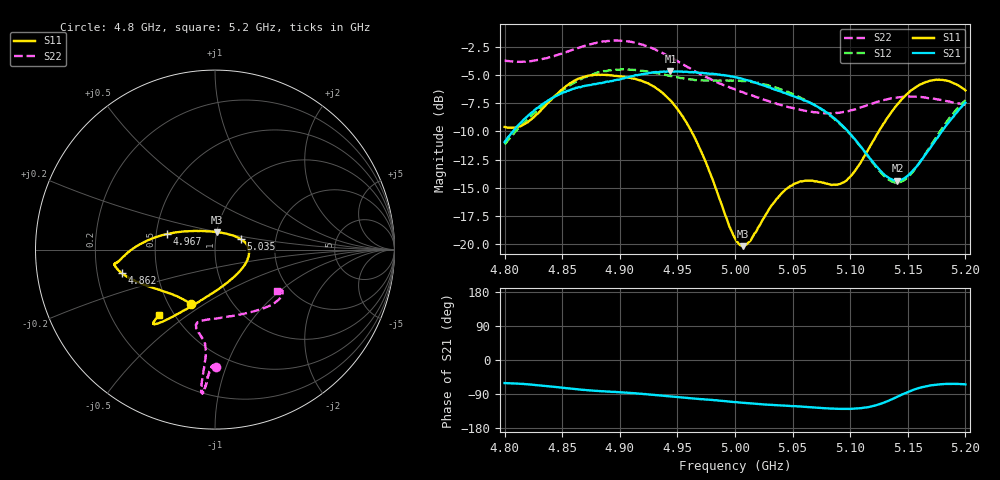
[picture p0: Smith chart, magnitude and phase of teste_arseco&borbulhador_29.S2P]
! Network Analyzer HP8722D
! Hewlett-Packard
! Data name: Linha & Wilkinson
! Saver's name: Rodrigo Anjos
! Comments: Teste da utilização de aquisição
! continua pelo VNA HP8722D
! Time and date: 15/4/2025 15:52
!  Frequency  S11  S21  S12  S22
# HZ  S  MA R 50
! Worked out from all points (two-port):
!   401 points, 4.8 GHz to 5.2 GHz, reference 50 ohm
!   highest |S21| = -4.63 dB at 4.944 GHz (marker M1); lowest = -14.4 dB at 5.141 GHz (marker M2)
!   |S21| within 3 dB of the highest: 4.832 GHz to 5.069 GHz (237.2 MHz wide, 4.79 % of centre); 5.198242 GHz to end of sweep
!   lowest |S11| = -20.2 dB at 5.007 GHz (marker M3), VSWR 1.22, Z = 50.3 + j9.82 ohm
!   |S11| at or under -10 dB: 4.962 GHz to 5.125 GHz (162.6 MHz wide, 3.22 % of centre)
!   |S22| runs from -8.4 to -1.9 dB; largest |S21 - S12| = 0.88
!   S11 on the Smith chart (normalised r, x): 4.8 GHz: 0.65, -0.44; 4.862 GHz: 0.31, -0.11; 4.967 GHz: 0.57, +0.11; 5.035 GHz: 1.32, +0.16; 5.2 GHz: 0.41, -0.39
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4.8e9  0.3312 -114.0  0.2838 -60.9  0.277 -175.2  0.6545 -89.6
4.819e9  0.3456 -133.9  0.3663 -64.0  0.354 -173.5  0.6488 -91.2
4.862e9  0.5365 -165.8  0.495 -76.8  0.5272 -176.6  0.7398 -93.6
4.867e9  0.5498 -167.8  0.5007 -78.4  0.5428 -177.6  0.7535 -93.8
4.9e9  0.5561 -172.3  0.5392 -85.1  0.5955 175.7  0.8015 -95.1
4.934e9  0.4839 -178.3  0.5811 -93.5  0.5738 171.8  0.7178 -95.7
4.944e9  0.4342 177.2  0.5865 -96.4  0.558 171.8  0.6776 -95.4
4.967e9  0.2827 162.2  0.5785 -102.2  0.5356 173.9  0.5796 -95.0
5e9  0.1059 106.5  0.552 -111.2  0.5338 176.4  0.4865 -99.2
5.007e9  0.0975 82.4  0.541 -112.8  0.5299 176.2  0.4727 -100.9
5.014e9  0.1043 60.3  0.5304 -114.7  0.5258 176.0  0.4593 -102.5
5.035e9  0.1552 22.2  0.4845 -119.1  0.4971 174.9  0.4223 -103.9
5.05e9  0.1825 6.5  0.4557 -121.8  0.4646 174.4  0.4024 -100.3
5.067e9  0.1909 -12.1  0.4197 -124.7  0.4202 173.9  0.3871 -91.8
5.086e9  0.1833 -42.3  0.3629 -128.4  0.3606 173.5  0.3801 -77.5
5.097e9  0.1915 -65.4  0.3204 -129.1  0.3198 174.4  0.3885 -68.4
5.134e9  0.3744 -116.4  0.1953 -106.6  0.1919 -159.4  0.4422 -43.3
5.141e9  0.4178 -120.4  0.191 -96.7  0.1872 -148.4  0.4482 -40.3
5.153e9  0.4827 -125.2  0.2079 -80.7  0.205 -129.9  0.4518 -36.0
5.17e9  0.5328 -128.8  0.2693 -66.9  0.2744 -113.1  0.4443 -32.1
5.184e9  0.5323 -130.2  0.3399 -63.2  0.3507 -107.3  0.4314 -31.1
5.2e9  0.482 -130.6  0.4245 -64.3  0.4362 -106.2  0.4152 -33.5
